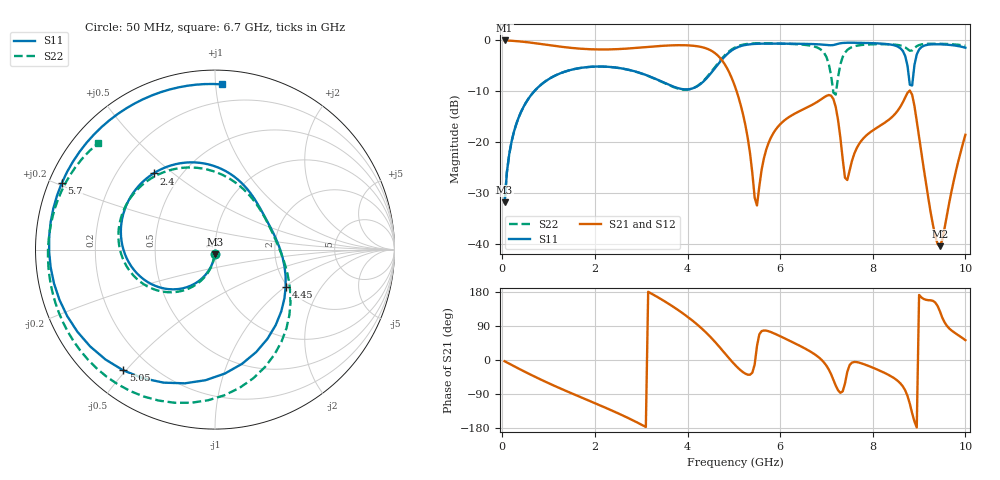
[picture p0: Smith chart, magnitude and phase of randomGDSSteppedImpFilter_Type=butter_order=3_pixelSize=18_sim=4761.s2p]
! freq	dB(S11)	phase(S11)	dB(S12)	phase(S12)
!  dB(S21)	phase(S21)	dB(S22)	phase(S22)
!S-par simulation data
#  GHz  S  DB  R 50
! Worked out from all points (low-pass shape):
!   200 points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, 50 MHz to 10 GHz, reference 50 ohm
!   highest |S21| = -0.01 dB at 50 MHz (marker M1); lowest = -40.4 dB at 9.45 GHz (marker M2)
!   |S21| within 3 dB of the highest: start of sweep to 4.658 GHz
!   lowest |S11| = -31.8 dB at 50 MHz (marker M3), VSWR 1.05, Z = 49.8 - j2.56 ohm
!   |S11| at or under -10 dB: start of sweep to 688.3 MHz
!   |S22| runs from -31.8 to -0.5 dB; largest |S21 - S12| = 0
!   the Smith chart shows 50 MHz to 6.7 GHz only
!   S11 on the Smith chart (normalised r, x): 50 MHz: 1.00, -0.05; 2.4 GHz: 0.35, +0.43; 4.45 GHz: 1.96, -1.01; 5.05 GHz: 0.10, -0.49; 5.7 GHz: 0.04, +0.21; 6.7 GHz: 0.09, +1.04
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0.05  -31.78 -93.4  -0.01 -3.3  -0.01 -3.3  -31.78 -93.2
0.2  -19.86 -103.9  -0.07 -13.0  -0.07 -13.0  -19.86 -102.8
0.5  -12.36 -123.7  -0.31 -31.8  -0.31 -31.8  -12.36 -121.1
1.75  -5.32 164.0  -1.66 -101.1  -1.66 -101.1  -5.32 172.9
2.4  -5.27 128.9  -1.74 -135.2  -1.74 -135.2  -5.28 140.2
3.4  -7.91 69.2  -1.09 162.7  -1.09 162.7  -7.96 77.0
4.05  -9.54 20.6  -0.99 109.4  -0.99 109.4  -9.57 17.7
4.45  -7.04 -27.6  -1.73 66.4  -1.73 66.4  -6.87 -24.2
5.05  -1.46 -127.3  -9.70 -16.0  -9.70 -16.0  -1.28 -98.8
5.5  -0.66 175.4  -32.38 37.3  -32.38 37.3  -0.56 -143.2
5.7  -0.62 156.6  -21.40 77.5  -21.40 77.5  -0.55 -157.9
6.7  -0.71 87.6  -12.59 18.7  -12.59 18.7  -1.11 137.6
7  -0.89 71.1  -10.87 -15.1  -10.87 -15.1  -3.26 92.6
7.15  -0.90 64.8  -11.51 -52.2  -11.51 -52.2  -10.24 7.0
7.25  -0.66 60.1  -15.60 -79.9  -15.60 -79.9  -7.22 -111.3
7.5  -0.45 45.1  -25.48 -13.4  -25.48 -13.4  -1.53 173.4
8.35  -0.76 -4.3  -15.54 -39.9  -15.54 -39.9  -0.76 116.8
8.7  -3.03 -37.3  -11.18 -80.1  -11.18 -80.1  -1.35 100.3
8.85  -8.84 1.5  -10.64 -140.2  -10.64 -140.2  -1.96 101.6
9.05  -1.31 -12.3  -22.07 165.1  -22.07 165.1  -0.79 94.1
9.45  -0.76 -46.3  -40.36 128.4  -40.36 128.4  -0.66 74.3
10  -1.43 -91.0  -18.50 52.4  -18.50 52.4  -1.05 44.1
